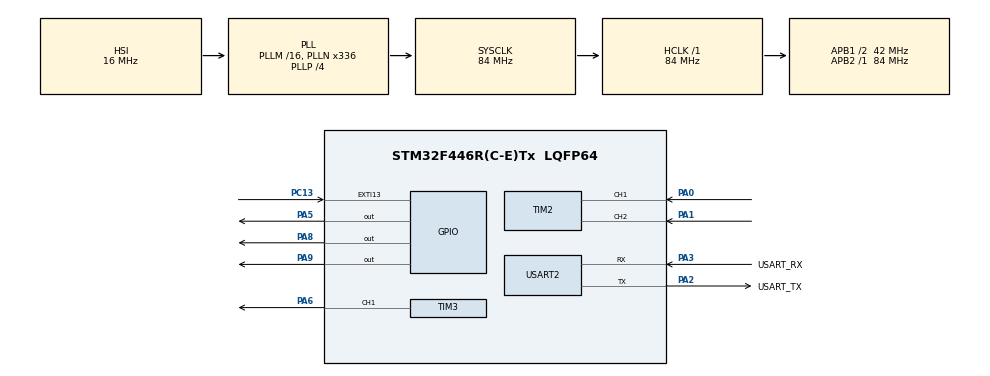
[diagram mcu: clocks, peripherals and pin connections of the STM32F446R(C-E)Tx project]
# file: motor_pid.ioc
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Mcu.Family=STM32F4
Mcu.Name=STM32F446R(C-E)Tx
Mcu.Package=LQFP64
NUCLEO-F446RE.BUTTON=1
NUCLEO-F446RE.LD1=true
NVIC.EXTI15_10_IRQn=true\:0\:0\:false\:false\:true\:false\:true\:true
NVIC.PriorityGroup=NVIC_PRIORITYGROUP_0
PA0-WKUP.GPIO_PuPd=GPIO_PULLUP
PA0-WKUP.Signal=S_TIM2_CH1_ETR
PA1.GPIO_PuPd=GPIO_PULLUP
PA1.Signal=S_TIM2_CH2
PA13.GPIO_Label=TMS
PA13.Signal=SYS_JTMS-SWDIO
PA14.GPIO_Label=TCK
PA14.Signal=SYS_JTCK-SWCLK
PA2.GPIO_Label=USART_TX
PA2.Mode=Asynchronous
PA2.Signal=USART2_TX
PA3.GPIO_Label=USART_RX
PA3.Mode=Asynchronous
PA3.Signal=USART2_RX
PA5.Signal=GPIO_Output
PA6.Signal=S_TIM3_CH1
PA8.Signal=GPIO_Output
PA9.Signal=GPIO_Output
PB3.GPIO_Label=SWO
PB3.Signal=SYS_JTDO-SWO
PC13.Signal=GPXTI13
PC14-OSC32_IN.Signal=RCC_OSC32_IN
PC15-OSC32_OUT.Signal=RCC_OSC32_OUT
PH0-OSC_IN.Signal=RCC_OSC_IN
PH1-OSC_OUT.Signal=RCC_OSC_OUT
ProjectManager.HeapSize=0x200
ProjectManager.StackSize=0x400
ProjectManager.TargetToolchain=CMake
RCC.AHBFreq_Value=84000000
RCC.APB1CLKDivider=RCC_HCLK_DIV2
RCC.APB1Freq_Value=42000000
RCC.APB1TimFreq_Value=84000000
RCC.APB2Freq_Value=84000000
RCC.APB2TimFreq_Value=84000000
RCC.CortexFreq_Value=84000000
RCC.FLatency-AdvancedSettings=FLASH_LATENCY_2
RCC.HCLKFreq_Value=84000000
RCC.HSE_VALUE=8000000
RCC.HSI_VALUE=16000000
RCC.LSE_VALUE=32768
RCC.PLLN=336
RCC.PLLP=RCC_PLLP_DIV4
RCC.SYSCLKFreq_VALUE=84000000
RCC.SYSCLKSource=RCC_SYSCLKSOURCE_PLLCLK
RCC.USBFreq_Value=168000000
RCC.VCOOutputFreq_Value=336000000
SH.S_TIM2_CH1_ETR.0=TIM2_CH1,Encoder_Interface
SH.S_TIM2_CH2.0=TIM2_CH2,Encoder_Interface
SH.S_TIM3_CH1.0=TIM3_CH1,PWM Generation1 CH1
TIM2.IC1Filter=10
TIM2.IC2Filter=10
TIM3.Channel-PWM\ Generation1\ CH1=TIM_CHANNEL_1
TIM3.Period=4199
USART2.VirtualMode=VM_ASYNC
VP_NUCLEO-F446RE_VS_BSP_COMMON.Mode=COMMON
board=NUCLEO-F446RE

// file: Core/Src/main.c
/* USER CODE BEGIN Header */
/**
  ******************************************************************************
  * @file           : main.c
  * @brief          : Main program body
  ******************************************************************************
  * @attention
  *
  * Copyright (c) 2026 STMicroelectronics.
  * All rights reserved.
  *
  * This software is licensed under terms that can be found in the LICENSE file
  * in the root directory of this software component.
  * If no LICENSE file comes with this software, it is provided AS-IS.
  *
  ******************************************************************************
  */
/* USER CODE END Header */
#include "main.h"

/* USER CODE BEGIN Includes */
#include <stdio.h>
/* USER CODE END Includes */

/* USER CODE BEGIN PD */
#define COUNTS_PER_REV 4172     // verified with the 10-turn test
#define ENCODER_DIR    (-1)     // forward counts as positive
#define SAMPLE_MS      100      // control loop runs every 100 ms
#define PWM_MAX        4199     // TIM3 ARR = 100% duty
#define KP             80.0f    // proportional gain (duty counts per RPM of error)
#define KI             800.0f     // integral gain: start at 0, then try 800
/* USER CODE END PD */

TIM_HandleTypeDef htim2;
TIM_HandleTypeDef htim3;

UART_HandleTypeDef huart2;

void SystemClock_Config(void);
static void MX_GPIO_Init(void);
static void MX_TIM2_Init(void);
static void MX_TIM3_Init(void);
static void MX_USART2_UART_Init(void);

/* USER CODE BEGIN 0 */
int __io_putchar(int ch)
{
  HAL_UART_Transmit(&huart2, (uint8_t *)&ch, 1, HAL_MAX_DELAY);
  return ch;
}
/* USER CODE END 0 */

int main(void)
{

  /* MCU Configuration--------------------------------------------------------*/

  /* Reset of all peripherals, Initializes the Flash interface and the Systick. */
  HAL_Init();

  /* Configure the system clock */
  SystemClock_Config();

  /* Initialize all configured peripherals */
  MX_GPIO_Init();
  MX_TIM2_Init();
  MX_TIM3_Init();
  MX_USART2_UART_Init();
  /* USER CODE BEGIN 2 */
  HAL_TIM_PWM_Start(&htim3, TIM_CHANNEL_1);             // start 20 kHz PWM on PA6
  HAL_TIM_Encoder_Start(&htim2, TIM_CHANNEL_ALL);       // start counting encoder pulses
  HAL_GPIO_WritePin(GPIOA, GPIO_PIN_8, GPIO_PIN_SET);   // AIN1 = 1
  HAL_GPIO_WritePin(GPIOA, GPIO_PIN_9, GPIO_PIN_RESET); // AIN2 = 0  -> forward
  printf("motor_pid started\r\n");
  /* USER CODE END 2 */

  /* Initialize leds */
  BSP_LED_Init(LED2);

  /* Initialize USER push-button, will be used to trigger an interrupt each time it's pressed.*/
  BSP_PB_Init(BUTTON_USER, BUTTON_MODE_EXTI);

  /* Infinite loop */
  while (1)
  {

    /* USER CODE BEGIN 3 */
    // Step 19: PI speed control. Target alternates 20 / 10 RPM every 5 s
    static uint32_t last_sample = 0;
    static int32_t  last_count = 0;
    static float    integral = 0.0f;

    uint32_t now = HAL_GetTick();
    if (now - last_sample >= SAMPLE_MS) {
      last_sample = now;

      // 1. Measure speed
      int32_t count = (int32_t)__HAL_TIM_GET_COUNTER(&htim2);
      int32_t delta = ENCODER_DIR * (count - last_count);
      last_count = count;
      float rpm = delta * (60000.0f / SAMPLE_MS) / COUNTS_PER_REV;

      // 2. Pick the target speed
      float target = ((now / 5000) % 2 == 0) ? 20.0f : 10.0f;

      // 3. PI controller
      float error = target - rpm;
      float dt = SAMPLE_MS / 1000.0f;
      integral += error * dt;
      float u = KP * error + KI * integral;

      // 4. Clamp to the PWM range; if clamped, undo this step's integral (anti-windup)
      if (u > PWM_MAX) { u = PWM_MAX; integral -= error * dt; }
      if (u < 0)       { u = 0;       integral -= error * dt; }
      __HAL_TIM_SET_COMPARE(&htim3, TIM_CHANNEL_1, (uint32_t)u);

      // 5. Print target, speed, and duty (printf has no %f, so print x10 integers)
      int32_t rpm10 = (int32_t)(rpm * 10.0f);
      printf("target: %2d   rpm: %ld.%ld   duty: %3ld%%\r\n",
             (int)target, rpm10 / 10, (rpm10 < 0 ? -rpm10 : rpm10) % 10,
             (int32_t)(u * 100.0f / PWM_MAX));
    }
  }
  /* USER CODE END 3 */
}
void SystemClock_Config(void)
{
  RCC_OscInitTypeDef RCC_OscInitStruct = {0};
  RCC_ClkInitTypeDef RCC_ClkInitStruct = {0};

  /** Configure the main internal regulator output voltage
  */
  __HAL_RCC_PWR_CLK_ENABLE();
  __HAL_PWR_VOLTAGESCALING_CONFIG(PWR_REGULATOR_VOLTAGE_SCALE3);

  /** Initializes the RCC Oscillators according to the specified parameters
  * in the RCC_OscInitTypeDef structure.
  */
  RCC_OscInitStruct.OscillatorType = RCC_OSCILLATORTYPE_HSI;
  RCC_OscInitStruct.HSIState = RCC_HSI_ON;
  RCC_OscInitStruct.HSICalibrationValue = RCC_HSICALIBRATION_DEFAULT;
  RCC_OscInitStruct.PLL.PLLState = RCC_PLL_ON;
  RCC_OscInitStruct.PLL.PLLSource = RCC_PLLSOURCE_HSI;
  RCC_OscInitStruct.PLL.PLLM = 16;
  RCC_OscInitStruct.PLL.PLLN = 336;
  RCC_OscInitStruct.PLL.PLLP = RCC_PLLP_DIV4;
  RCC_OscInitStruct.PLL.PLLQ = 2;
  RCC_OscInitStruct.PLL.PLLR = 2;
  if (HAL_RCC_OscConfig(&RCC_OscInitStruct) != HAL_OK)
  {
    Error_Handler();
  }

  /** Initializes the CPU, AHB and APB buses clocks
  */
  RCC_ClkInitStruct.ClockType = RCC_CLOCKTYPE_HCLK|RCC_CLOCKTYPE_SYSCLK
                              |RCC_CLOCKTYPE_PCLK1|RCC_CLOCKTYPE_PCLK2;
  RCC_ClkInitStruct.SYSCLKSource = RCC_SYSCLKSOURCE_PLLCLK;
  RCC_ClkInitStruct.AHBCLKDivider = RCC_SYSCLK_DIV1;
  RCC_ClkInitStruct.APB1CLKDivider = RCC_HCLK_DIV2;
  RCC_ClkInitStruct.APB2CLKDivider = RCC_HCLK_DIV1;

  if (HAL_RCC_ClockConfig(&RCC_ClkInitStruct, FLASH_LATENCY_2) != HAL_OK)
  {
    Error_Handler();
  }
}

static void MX_TIM2_Init(void)
{

  TIM_Encoder_InitTypeDef sConfig = {0};
  TIM_MasterConfigTypeDef sMasterConfig = {0};

  htim2.Instance = TIM2;
  htim2.Init.Prescaler = 0;
  htim2.Init.CounterMode = TIM_COUNTERMODE_UP;
  htim2.Init.Period = 4294967295;
  htim2.Init.ClockDivision = TIM_CLOCKDIVISION_DIV1;
  htim2.Init.AutoReloadPreload = TIM_AUTORELOAD_PRELOAD_DISABLE;
  sConfig.EncoderMode = TIM_ENCODERMODE_TI1;
  sConfig.IC1Polarity = TIM_ICPOLARITY_RISING;
  sConfig.IC1Selection = TIM_ICSELECTION_DIRECTTI;
  sConfig.IC1Prescaler = TIM_ICPSC_DIV1;
  sConfig.IC1Filter = 10;
  sConfig.IC2Polarity = TIM_ICPOLARITY_RISING;
  sConfig.IC2Selection = TIM_ICSELECTION_DIRECTTI;
  sConfig.IC2Prescaler = TIM_ICPSC_DIV1;
  sConfig.IC2Filter = 10;
  if (HAL_TIM_Encoder_Init(&htim2, &sConfig) != HAL_OK)
  {
    Error_Handler();
  }
  sMasterConfig.MasterOutputTrigger = TIM_TRGO_RESET;
  sMasterConfig.MasterSlaveMode = TIM_MASTERSLAVEMODE_DISABLE;
  if (HAL_TIMEx_MasterConfigSynchronization(&htim2, &sMasterConfig) != HAL_OK)
  {
    Error_Handler();
  }

}

static void MX_TIM3_Init(void)
{

  TIM_MasterConfigTypeDef sMasterConfig = {0};
  TIM_OC_InitTypeDef sConfigOC = {0};

  htim3.Instance = TIM3;
  htim3.Init.Prescaler = 0;
  htim3.Init.CounterMode = TIM_COUNTERMODE_UP;
  htim3.Init.Period = 4199;
  htim3.Init.ClockDivision = TIM_CLOCKDIVISION_DIV1;
  htim3.Init.AutoReloadPreload = TIM_AUTORELOAD_PRELOAD_DISABLE;
  if (HAL_TIM_PWM_Init(&htim3) != HAL_OK)
  {
    Error_Handler();
  }
  sMasterConfig.MasterOutputTrigger = TIM_TRGO_RESET;
  sMasterConfig.MasterSlaveMode = TIM_MASTERSLAVEMODE_DISABLE;
  if (HAL_TIMEx_MasterConfigSynchronization(&htim3, &sMasterConfig) != HAL_OK)
  {
    Error_Handler();
  }
  sConfigOC.OCMode = TIM_OCMODE_PWM1;
  sConfigOC.Pulse = 0;
  sConfigOC.OCPolarity = TIM_OCPOLARITY_HIGH;
  sConfigOC.OCFastMode = TIM_OCFAST_DISABLE;
  if (HAL_TIM_PWM_ConfigChannel(&htim3, &sConfigOC, TIM_CHANNEL_1) != HAL_OK)
  {
    Error_Handler();
  }
  HAL_TIM_MspPostInit(&htim3);

}

static void MX_USART2_UART_Init(void)
{

  huart2.Instance = USART2;
  huart2.Init.BaudRate = 115200;
  huart2.Init.WordLength = UART_WORDLENGTH_8B;
  huart2.Init.StopBits = UART_STOPBITS_1;
  huart2.Init.Parity = UART_PARITY_NONE;
  huart2.Init.Mode = UART_MODE_TX_RX;
  huart2.Init.HwFlowCtl = UART_HWCONTROL_NONE;
  huart2.Init.OverSampling = UART_OVERSAMPLING_16;
  if (HAL_UART_Init(&huart2) != HAL_OK)
  {
    Error_Handler();
  }

}

static void MX_GPIO_Init(void)
{
  GPIO_InitTypeDef GPIO_InitStruct = {0};

  /* GPIO Ports Clock Enable */
  __HAL_RCC_GPIOC_CLK_ENABLE();
  __HAL_RCC_GPIOH_CLK_ENABLE();
  __HAL_RCC_GPIOA_CLK_ENABLE();
  __HAL_RCC_GPIOB_CLK_ENABLE();

  /*Configure GPIO pin Output Level */
  HAL_GPIO_WritePin(GPIOA, GPIO_PIN_8|GPIO_PIN_9, GPIO_PIN_RESET);

  /*Configure GPIO pins : PA8 PA9 */
  GPIO_InitStruct.Pin = GPIO_PIN_8|GPIO_PIN_9;
  GPIO_InitStruct.Mode = GPIO_MODE_OUTPUT_PP;
  GPIO_InitStruct.Pull = GPIO_NOPULL;
  GPIO_InitStruct.Speed = GPIO_SPEED_FREQ_LOW;
  HAL_GPIO_Init(GPIOA, &GPIO_InitStruct);

}

void Error_Handler(void)
{
  __disable_irq();
  while (1)
  {
  }
}
